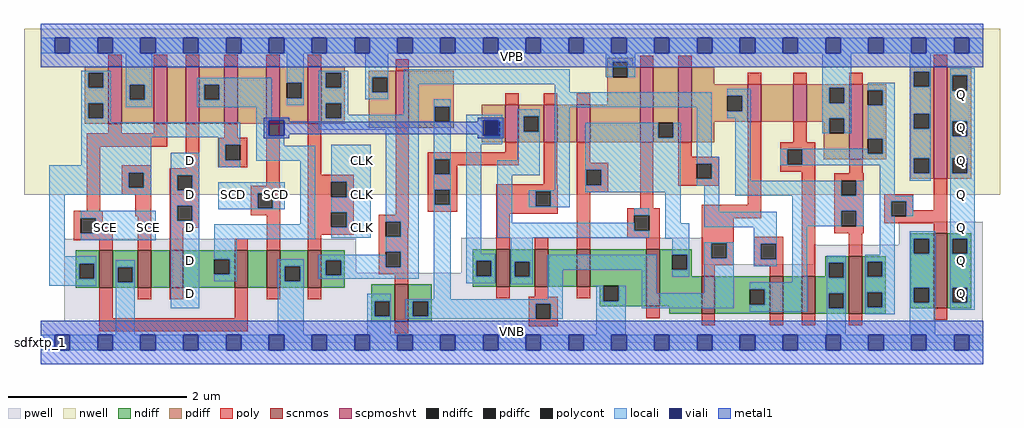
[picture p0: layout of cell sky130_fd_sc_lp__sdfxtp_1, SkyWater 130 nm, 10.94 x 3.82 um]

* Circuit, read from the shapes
.subckt sky130_fd_sc_lp__sdfxtp_1 CLK D SCD SCE VGND VNB VPB VPWR Q
XM1 VGND SCE n1 VNB sky130_fd_pr__nfet_01v8 w=0.42 l=0.15
XM2 n2 n1 VGND VNB sky130_fd_pr__nfet_01v8 w=0.42 l=0.15
XM3 n3 D n2 VNB sky130_fd_pr__nfet_01v8 w=0.42 l=0.15
XM4 n4 SCE n3 VNB sky130_fd_pr__nfet_01v8 w=0.42 l=0.15
XM5 VGND SCD n4 VNB sky130_fd_pr__nfet_01v8 w=0.42 l=0.15
XM6 n5 CLK VGND VNB sky130_fd_pr__nfet_01v8 w=0.42 l=0.15
XM7 n6 n5 VGND VNB sky130_fd_pr__nfet_01v8 w=0.42 l=0.15
XM8 n7 n5 n3 VNB sky130_fd_pr__nfet_01v8 w=0.42 l=0.15
XM9 n8 n6 n7 VNB sky130_fd_pr__nfet_01v8 w=0.42 l=0.15
XM10 VGND n9 n8 VNB sky130_fd_pr__nfet_01v8 w=0.42 l=0.15
XM11 n9 n7 VGND VNB sky130_fd_pr__nfet_01v8 w=0.64 l=0.15
XM12 n10 n6 n9 VNB sky130_fd_pr__nfet_01v8 w=0.42 l=0.15
XM13 n11 n5 n10 VNB sky130_fd_pr__nfet_01v8 w=0.42 l=0.15
XM14 VGND n12 n11 VNB sky130_fd_pr__nfet_01v8 w=0.42 l=0.15
XM15 n12 n10 VGND VNB sky130_fd_pr__nfet_01v8 w=0.64 l=0.15
XM16 Q n12 VGND VNB sky130_fd_pr__nfet_01v8 w=0.84 l=0.15
XM17 VPWR SCE n1 VPB sky130_fd_pr__pfet_01v8_hvt w=0.64 l=0.15
XM18 n13 SCE VPWR VPB sky130_fd_pr__pfet_01v8_hvt w=0.64 l=0.15
XM19 n3 D n13 VPB sky130_fd_pr__pfet_01v8_hvt w=0.64 l=0.15
XM20 n14 n1 n3 VPB sky130_fd_pr__pfet_01v8_hvt w=0.64 l=0.15
XM21 VPWR SCD n14 VPB sky130_fd_pr__pfet_01v8_hvt w=0.64 l=0.15
XM22 n5 CLK VPWR VPB sky130_fd_pr__pfet_01v8_hvt w=0.64 l=0.15
XM23 n6 n5 VPWR VPB sky130_fd_pr__pfet_01v8_hvt w=0.64 l=0.15
XM24 n7 n6 n3 VPB sky130_fd_pr__pfet_01v8_hvt w=0.42 l=0.15
XM25 n15 n5 n7 VPB sky130_fd_pr__pfet_01v8_hvt w=0.42 l=0.15
XM26 VPWR n9 n15 VPB sky130_fd_pr__pfet_01v8_hvt w=0.42 l=0.15
XM27 n9 n7 VPWR VPB sky130_fd_pr__pfet_01v8_hvt w=0.84 l=0.15
XM28 n10 n5 n9 VPB sky130_fd_pr__pfet_01v8_hvt w=0.84 l=0.15
XM29 n16 n6 n10 VPB sky130_fd_pr__pfet_01v8_hvt w=0.42 l=0.15
XM30 VPWR n12 n16 VPB sky130_fd_pr__pfet_01v8_hvt w=0.42 l=0.15
XM31 n12 n10 VPWR VPB sky130_fd_pr__pfet_01v8_hvt w=0.84 l=0.15
XM32 Q n12 VPWR VPB sky130_fd_pr__pfet_01v8_hvt w=1.26 l=0.15
.ends

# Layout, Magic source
magic
tech sky130A
magscale 1 2
<< nwell >>
rect -38 331 2150 704
<< pwell >>
rect 52 157 707 233
rect 942 175 1485 235
rect 1923 219 2111 271
rect 1732 175 2111 219
rect 942 157 2111 175
rect 52 49 2111 157
rect 0 0 2112 49
<< scnmos >>
rect 131 123 161 207
rect 217 123 247 207
rect 289 123 319 207
rect 434 123 464 207
rect 506 123 536 207
rect 598 123 628 207
rect 793 47 823 131
rect 1021 125 1051 209
rect 1107 125 1137 209
rect 1201 125 1231 209
rect 1357 81 1387 209
rect 1481 65 1511 149
rect 1634 65 1664 149
rect 1706 65 1736 149
rect 1811 65 1841 193
rect 2002 77 2032 245
<< scpmoshvt >>
rect 151 491 181 619
rect 253 491 283 619
rect 325 491 355 619
rect 411 491 441 619
rect 505 491 535 619
rect 598 491 628 619
rect 795 481 825 609
rect 1041 449 1071 533
rect 1127 449 1157 533
rect 1201 449 1231 533
rect 1343 449 1373 617
rect 1429 449 1459 617
rect 1585 495 1615 579
rect 1687 495 1717 579
rect 1812 411 1842 579
rect 2002 367 2032 619
<< ndiff >>
rect 78 177 131 207
rect 78 143 86 177
rect 120 143 131 177
rect 78 123 131 143
rect 161 169 217 207
rect 161 135 172 169
rect 206 135 217 169
rect 161 123 217 135
rect 247 123 289 207
rect 319 187 434 207
rect 319 153 389 187
rect 423 153 434 187
rect 319 123 434 153
rect 464 123 506 207
rect 536 171 598 207
rect 536 137 547 171
rect 581 137 598 171
rect 536 123 598 137
rect 628 185 681 207
rect 628 151 639 185
rect 673 151 681 185
rect 628 123 681 151
rect 968 183 1021 209
rect 968 149 976 183
rect 1010 149 1021 183
rect 740 93 793 131
rect 740 59 748 93
rect 782 59 793 93
rect 740 47 793 59
rect 823 93 876 131
rect 968 125 1021 149
rect 1051 181 1107 209
rect 1051 147 1062 181
rect 1096 147 1107 181
rect 1051 125 1107 147
rect 1137 125 1201 209
rect 1231 127 1357 209
rect 1231 125 1261 127
rect 823 59 834 93
rect 868 59 876 93
rect 823 47 876 59
rect 1253 93 1261 125
rect 1295 93 1357 127
rect 1253 81 1357 93
rect 1387 197 1459 209
rect 1387 163 1415 197
rect 1449 163 1459 197
rect 1387 149 1459 163
rect 1949 233 2002 245
rect 1949 199 1957 233
rect 1991 199 2002 233
rect 1758 179 1811 193
rect 1758 149 1766 179
rect 1387 81 1481 149
rect 1409 65 1481 81
rect 1511 119 1634 149
rect 1511 85 1589 119
rect 1623 85 1634 119
rect 1511 65 1634 85
rect 1664 65 1706 149
rect 1736 145 1766 149
rect 1800 145 1811 179
rect 1736 111 1811 145
rect 1736 77 1766 111
rect 1800 77 1811 111
rect 1736 65 1811 77
rect 1841 181 1894 193
rect 1841 147 1852 181
rect 1886 147 1894 181
rect 1841 113 1894 147
rect 1841 79 1852 113
rect 1886 79 1894 113
rect 1841 65 1894 79
rect 1949 123 2002 199
rect 1949 89 1957 123
rect 1991 89 2002 123
rect 1949 77 2002 89
rect 2032 233 2085 245
rect 2032 199 2043 233
rect 2077 199 2085 233
rect 2032 123 2085 199
rect 2032 89 2043 123
rect 2077 89 2085 123
rect 2032 77 2085 89
<< pdiff >>
rect 98 605 151 619
rect 98 571 106 605
rect 140 571 151 605
rect 98 537 151 571
rect 98 503 106 537
rect 140 503 151 537
rect 98 491 151 503
rect 181 578 253 619
rect 181 544 199 578
rect 233 544 253 578
rect 181 491 253 544
rect 283 491 325 619
rect 355 578 411 619
rect 355 544 366 578
rect 400 544 411 578
rect 355 491 411 544
rect 441 491 505 619
rect 535 582 598 619
rect 535 548 551 582
rect 585 548 598 582
rect 535 491 598 548
rect 628 605 681 619
rect 1270 629 1328 639
rect 628 571 639 605
rect 673 571 681 605
rect 628 537 681 571
rect 628 503 639 537
rect 673 503 681 537
rect 628 491 681 503
rect 735 595 795 609
rect 735 561 743 595
rect 777 561 795 595
rect 735 481 795 561
rect 825 529 925 609
rect 1270 595 1282 629
rect 1316 617 1328 629
rect 1316 595 1343 617
rect 1270 533 1343 595
rect 825 495 883 529
rect 917 495 925 529
rect 825 481 925 495
rect 988 495 1041 533
rect 988 461 996 495
rect 1030 461 1041 495
rect 988 449 1041 461
rect 1071 507 1127 533
rect 1071 473 1082 507
rect 1116 473 1127 507
rect 1071 449 1127 473
rect 1157 449 1201 533
rect 1231 449 1343 533
rect 1373 493 1429 617
rect 1373 459 1384 493
rect 1418 459 1429 493
rect 1373 449 1429 459
rect 1459 579 1509 617
rect 1949 607 2002 619
rect 1459 553 1585 579
rect 1459 519 1538 553
rect 1572 519 1585 553
rect 1459 495 1585 519
rect 1615 495 1687 579
rect 1717 571 1812 579
rect 1717 537 1767 571
rect 1801 537 1812 571
rect 1717 503 1812 537
rect 1717 495 1767 503
rect 1459 449 1509 495
rect 1755 469 1767 495
rect 1801 469 1812 503
rect 1755 411 1812 469
rect 1842 566 1895 579
rect 1842 532 1853 566
rect 1887 532 1895 566
rect 1842 457 1895 532
rect 1842 423 1853 457
rect 1887 423 1895 457
rect 1842 411 1895 423
rect 1949 573 1957 607
rect 1991 573 2002 607
rect 1949 513 2002 573
rect 1949 479 1957 513
rect 1991 479 2002 513
rect 1949 413 2002 479
rect 1949 379 1957 413
rect 1991 379 2002 413
rect 1949 367 2002 379
rect 2032 599 2085 619
rect 2032 565 2043 599
rect 2077 565 2085 599
rect 2032 496 2085 565
rect 2032 462 2043 496
rect 2077 462 2085 496
rect 2032 413 2085 462
rect 2032 379 2043 413
rect 2077 379 2085 413
rect 2032 367 2085 379
<< ndiffc >>
rect 86 143 120 177
rect 172 135 206 169
rect 389 153 423 187
rect 547 137 581 171
rect 639 151 673 185
rect 976 149 1010 183
rect 748 59 782 93
rect 1062 147 1096 181
rect 834 59 868 93
rect 1261 93 1295 127
rect 1415 163 1449 197
rect 1957 199 1991 233
rect 1589 85 1623 119
rect 1766 145 1800 179
rect 1766 77 1800 111
rect 1852 147 1886 181
rect 1852 79 1886 113
rect 1957 89 1991 123
rect 2043 199 2077 233
rect 2043 89 2077 123
<< pdiffc >>
rect 106 571 140 605
rect 106 503 140 537
rect 199 544 233 578
rect 366 544 400 578
rect 551 548 585 582
rect 639 571 673 605
rect 639 503 673 537
rect 743 561 777 595
rect 1282 595 1316 629
rect 883 495 917 529
rect 996 461 1030 495
rect 1082 473 1116 507
rect 1384 459 1418 493
rect 1538 519 1572 553
rect 1767 537 1801 571
rect 1767 469 1801 503
rect 1853 532 1887 566
rect 1853 423 1887 457
rect 1957 573 1991 607
rect 1957 479 1991 513
rect 1957 379 1991 413
rect 2043 565 2077 599
rect 2043 462 2077 496
rect 2043 379 2077 413
<< poly >>
rect 151 619 181 645
rect 253 619 283 645
rect 325 619 355 645
rect 411 619 441 645
rect 505 619 535 645
rect 598 619 628 645
rect 795 609 825 635
rect 151 469 181 491
rect 253 469 283 491
rect 103 439 283 469
rect 103 295 133 439
rect 181 381 247 397
rect 325 391 355 491
rect 411 459 441 491
rect 397 443 463 459
rect 397 409 413 443
rect 447 409 463 443
rect 397 393 463 409
rect 181 347 197 381
rect 231 347 247 381
rect 181 331 247 347
rect 73 279 139 295
rect 211 283 247 331
rect 73 245 89 279
rect 123 259 139 279
rect 123 245 161 259
rect 73 229 161 245
rect 131 207 161 229
rect 217 207 247 283
rect 289 375 355 391
rect 289 341 305 375
rect 339 341 355 375
rect 505 351 535 491
rect 598 376 628 491
rect 1343 617 1373 643
rect 1429 617 1459 643
rect 2002 619 2032 645
rect 1041 533 1071 559
rect 1127 533 1157 559
rect 1201 533 1231 559
rect 598 360 701 376
rect 289 307 355 341
rect 289 273 305 307
rect 339 273 355 307
rect 470 335 536 351
rect 470 301 486 335
rect 520 301 536 335
rect 470 285 536 301
rect 289 257 355 273
rect 289 207 319 257
rect 434 207 464 233
rect 506 207 536 285
rect 598 326 651 360
rect 685 326 701 360
rect 598 292 701 326
rect 598 258 651 292
rect 685 258 701 292
rect 795 287 825 481
rect 1585 579 1615 605
rect 1687 579 1717 605
rect 1812 579 1842 605
rect 1041 427 1071 449
rect 867 411 1071 427
rect 867 377 883 411
rect 917 397 1071 411
rect 917 377 933 397
rect 867 343 933 377
rect 1127 355 1157 449
rect 1201 403 1231 449
rect 1201 387 1272 403
rect 867 309 883 343
rect 917 309 933 343
rect 867 293 933 309
rect 1021 339 1159 355
rect 1021 305 1109 339
rect 1143 305 1159 339
rect 598 242 701 258
rect 757 271 825 287
rect 598 207 628 242
rect 757 237 773 271
rect 807 257 825 271
rect 1021 289 1159 305
rect 1201 353 1222 387
rect 1256 353 1272 387
rect 1201 337 1272 353
rect 807 237 823 257
rect 757 203 823 237
rect 1021 209 1051 289
rect 1107 209 1137 235
rect 1201 209 1231 337
rect 1343 301 1373 449
rect 1429 417 1459 449
rect 1429 401 1520 417
rect 1429 367 1470 401
rect 1504 367 1520 401
rect 1429 351 1520 367
rect 1585 309 1615 495
rect 1687 449 1717 495
rect 1657 433 1736 449
rect 1657 399 1673 433
rect 1707 399 1736 433
rect 1657 383 1736 399
rect 1314 285 1387 301
rect 1314 251 1330 285
rect 1364 251 1387 285
rect 1314 235 1387 251
rect 1357 209 1387 235
rect 1481 279 1615 309
rect 1481 223 1553 279
rect 757 169 773 203
rect 807 169 823 203
rect 757 153 823 169
rect 793 131 823 153
rect 131 55 161 123
rect 217 97 247 123
rect 289 97 319 123
rect 434 55 464 123
rect 506 97 536 123
rect 598 97 628 123
rect 131 25 464 55
rect 1021 99 1051 125
rect 1107 103 1137 125
rect 1093 87 1159 103
rect 1201 99 1231 125
rect 1093 53 1109 87
rect 1143 53 1159 87
rect 1481 189 1503 223
rect 1537 189 1553 223
rect 1481 173 1553 189
rect 1598 221 1664 237
rect 1598 187 1614 221
rect 1648 187 1664 221
rect 1481 149 1511 173
rect 1598 171 1664 187
rect 1634 149 1664 171
rect 1706 149 1736 383
rect 1812 379 1842 411
rect 1778 363 1844 379
rect 1778 329 1794 363
rect 1828 329 1844 363
rect 1778 295 1844 329
rect 1778 261 1794 295
rect 1828 261 1844 295
rect 1890 317 1956 333
rect 1890 283 1906 317
rect 1940 297 1956 317
rect 2002 297 2032 367
rect 1940 283 2032 297
rect 1890 267 2032 283
rect 1778 245 1844 261
rect 2002 245 2032 267
rect 1811 193 1841 245
rect 1357 55 1387 81
rect 793 21 823 47
rect 1093 37 1159 53
rect 1481 39 1511 65
rect 1634 39 1664 65
rect 1706 39 1736 65
rect 1811 39 1841 65
rect 2002 51 2032 77
<< polycont >>
rect 413 409 447 443
rect 197 347 231 381
rect 89 245 123 279
rect 305 341 339 375
rect 305 273 339 307
rect 486 301 520 335
rect 651 326 685 360
rect 651 258 685 292
rect 883 377 917 411
rect 883 309 917 343
rect 1109 305 1143 339
rect 773 237 807 271
rect 1222 353 1256 387
rect 1470 367 1504 401
rect 1673 399 1707 433
rect 1330 251 1364 285
rect 773 169 807 203
rect 1109 53 1143 87
rect 1503 189 1537 223
rect 1614 187 1648 221
rect 1794 329 1828 363
rect 1794 261 1828 295
rect 1906 283 1940 317
<< locali >>
rect 0 649 31 683
rect 65 649 127 683
rect 161 649 223 683
rect 257 649 319 683
rect 353 649 415 683
rect 449 649 511 683
rect 545 649 607 683
rect 641 649 703 683
rect 737 649 799 683
rect 833 649 895 683
rect 929 649 991 683
rect 1025 649 1087 683
rect 1121 649 1183 683
rect 1217 649 1279 683
rect 1313 649 1375 683
rect 1409 649 1471 683
rect 1505 649 1567 683
rect 1601 649 1663 683
rect 1697 649 1759 683
rect 1793 649 1855 683
rect 1889 649 1951 683
rect 1985 649 2047 683
rect 2081 649 2112 683
rect 90 605 156 609
rect 90 571 106 605
rect 140 571 156 605
rect 90 537 156 571
rect 90 503 106 537
rect 140 503 156 537
rect 190 578 249 649
rect 190 544 199 578
rect 233 544 249 578
rect 190 528 249 544
rect 350 578 517 594
rect 350 544 366 578
rect 400 544 517 578
rect 350 528 517 544
rect 551 582 589 649
rect 585 548 589 582
rect 551 532 589 548
rect 623 605 689 609
rect 623 571 639 605
rect 673 571 689 605
rect 623 537 689 571
rect 727 595 779 649
rect 1266 629 1332 649
rect 727 561 743 595
rect 777 561 779 595
rect 727 545 779 561
rect 813 579 1186 613
rect 1266 595 1282 629
rect 1316 595 1332 629
rect 90 494 156 503
rect 483 498 517 528
rect 623 503 639 537
rect 673 511 689 537
rect 813 511 847 579
rect 1152 561 1186 579
rect 1751 571 1817 649
rect 1948 607 1995 649
rect 673 503 847 511
rect 90 460 447 494
rect 90 397 247 460
rect 399 443 447 460
rect 19 381 247 397
rect 19 347 197 381
rect 231 347 247 381
rect 19 331 247 347
rect 291 375 355 426
rect 399 409 413 443
rect 399 393 447 409
rect 483 464 511 498
rect 623 477 847 503
rect 483 441 545 464
rect 483 407 615 441
rect 291 341 305 375
rect 339 341 355 375
rect 19 193 53 331
rect 291 307 355 341
rect 89 279 257 295
rect 123 245 257 279
rect 89 229 257 245
rect 291 273 305 307
rect 339 273 355 307
rect 397 335 547 359
rect 397 301 486 335
rect 520 301 547 335
rect 397 299 547 301
rect 19 177 124 193
rect 19 143 86 177
rect 120 143 124 177
rect 19 127 124 143
rect 168 169 210 185
rect 168 135 172 169
rect 206 135 210 169
rect 168 17 210 135
rect 291 77 355 273
rect 581 265 615 407
rect 389 231 615 265
rect 651 360 739 443
rect 685 326 739 360
rect 651 292 739 326
rect 685 258 739 292
rect 651 235 739 258
rect 773 271 847 477
rect 807 237 847 271
rect 389 187 439 231
rect 773 203 847 237
rect 423 153 439 187
rect 389 137 439 153
rect 531 171 589 187
rect 531 137 547 171
rect 581 137 589 171
rect 623 185 773 197
rect 623 151 639 185
rect 673 169 773 185
rect 807 169 847 203
rect 673 151 847 169
rect 623 143 847 151
rect 881 529 919 545
rect 881 495 883 529
rect 917 495 919 529
rect 1152 527 1504 561
rect 881 411 919 495
rect 881 377 883 411
rect 917 377 919 411
rect 881 343 919 377
rect 881 309 883 343
rect 917 309 919 343
rect 531 17 589 137
rect 732 93 784 109
rect 881 97 919 309
rect 953 498 1034 511
rect 953 464 991 498
rect 1025 495 1034 498
rect 953 461 996 464
rect 1030 461 1034 495
rect 953 445 1034 461
rect 1068 507 1118 523
rect 1068 473 1082 507
rect 1116 473 1118 507
rect 953 199 987 445
rect 1068 409 1118 473
rect 1023 375 1118 409
rect 1023 269 1057 375
rect 1152 341 1186 527
rect 1093 339 1186 341
rect 1093 305 1109 339
rect 1143 305 1186 339
rect 1220 459 1384 493
rect 1418 459 1434 493
rect 1220 387 1434 459
rect 1220 353 1222 387
rect 1256 353 1434 387
rect 1220 337 1434 353
rect 1470 417 1504 527
rect 1538 553 1591 569
rect 1572 519 1591 553
rect 1538 503 1591 519
rect 1470 401 1521 417
rect 1504 367 1521 401
rect 1470 351 1521 367
rect 1093 303 1186 305
rect 1330 285 1364 301
rect 1023 251 1330 269
rect 1023 235 1364 251
rect 1400 267 1434 337
rect 1487 293 1521 351
rect 1557 363 1591 503
rect 1751 537 1767 571
rect 1801 537 1817 571
rect 1751 503 1817 537
rect 1751 469 1767 503
rect 1801 469 1817 503
rect 1853 566 1914 582
rect 1887 532 1914 566
rect 1853 457 1914 532
rect 1657 433 1853 435
rect 1657 399 1673 433
rect 1707 423 1853 433
rect 1887 423 1914 457
rect 1707 399 1914 423
rect 1657 397 1914 399
rect 1557 329 1794 363
rect 1828 329 1844 363
rect 1684 295 1844 329
rect 953 183 1019 199
rect 953 149 976 183
rect 1010 149 1019 183
rect 953 133 1019 149
rect 1053 181 1102 235
rect 1400 233 1453 267
rect 1487 259 1650 293
rect 1415 197 1453 233
rect 1053 147 1062 181
rect 1096 147 1102 181
rect 1053 131 1102 147
rect 1136 163 1381 197
rect 1136 97 1170 163
rect 732 59 748 93
rect 782 59 784 93
rect 732 17 784 59
rect 818 93 1170 97
rect 818 59 834 93
rect 868 87 1170 93
rect 868 59 1109 87
rect 818 53 1109 59
rect 1143 53 1170 87
rect 1245 93 1261 127
rect 1295 93 1311 127
rect 1245 17 1311 93
rect 1347 111 1381 163
rect 1449 163 1453 197
rect 1415 147 1453 163
rect 1487 223 1553 225
rect 1487 189 1503 223
rect 1537 189 1553 223
rect 1487 111 1553 189
rect 1598 221 1650 259
rect 1598 187 1614 221
rect 1648 187 1650 221
rect 1598 171 1650 187
rect 1684 261 1794 295
rect 1828 261 1844 295
rect 1880 329 1914 397
rect 1948 573 1957 607
rect 1991 573 1995 607
rect 1948 513 1995 573
rect 1948 479 1957 513
rect 1991 479 1995 513
rect 1948 413 1995 479
rect 1948 379 1957 413
rect 1991 379 1995 413
rect 1948 363 1995 379
rect 2039 599 2093 615
rect 2039 565 2043 599
rect 2077 565 2093 599
rect 2039 496 2093 565
rect 2039 462 2043 496
rect 2077 462 2093 496
rect 2039 413 2093 462
rect 2039 379 2043 413
rect 2077 379 2093 413
rect 1880 317 1956 329
rect 1880 283 1906 317
rect 1940 283 1956 317
rect 1684 135 1718 261
rect 1880 197 1914 283
rect 1347 77 1553 111
rect 1589 119 1718 135
rect 1623 85 1718 119
rect 1589 69 1718 85
rect 1762 179 1804 195
rect 1762 145 1766 179
rect 1800 145 1804 179
rect 1762 111 1804 145
rect 1762 77 1766 111
rect 1800 77 1804 111
rect 1762 17 1804 77
rect 1848 181 1914 197
rect 1848 147 1852 181
rect 1886 147 1914 181
rect 1848 113 1914 147
rect 1848 79 1852 113
rect 1886 79 1914 113
rect 1848 63 1914 79
rect 1948 233 2005 249
rect 1948 199 1957 233
rect 1991 199 2005 233
rect 1948 123 2005 199
rect 1948 89 1957 123
rect 1991 89 2005 123
rect 1948 17 2005 89
rect 2039 233 2093 379
rect 2039 199 2043 233
rect 2077 199 2093 233
rect 2039 123 2093 199
rect 2039 89 2043 123
rect 2077 89 2093 123
rect 2039 73 2093 89
rect 0 -17 31 17
rect 65 -17 127 17
rect 161 -17 223 17
rect 257 -17 319 17
rect 353 -17 415 17
rect 449 -17 511 17
rect 545 -17 607 17
rect 641 -17 703 17
rect 737 -17 799 17
rect 833 -17 895 17
rect 929 -17 991 17
rect 1025 -17 1087 17
rect 1121 -17 1183 17
rect 1217 -17 1279 17
rect 1313 -17 1375 17
rect 1409 -17 1471 17
rect 1505 -17 1567 17
rect 1601 -17 1663 17
rect 1697 -17 1759 17
rect 1793 -17 1855 17
rect 1889 -17 1951 17
rect 1985 -17 2047 17
rect 2081 -17 2112 17
<< viali >>
rect 31 649 65 683
rect 127 649 161 683
rect 223 649 257 683
rect 319 649 353 683
rect 415 649 449 683
rect 511 649 545 683
rect 607 649 641 683
rect 703 649 737 683
rect 799 649 833 683
rect 895 649 929 683
rect 991 649 1025 683
rect 1087 649 1121 683
rect 1183 649 1217 683
rect 1279 649 1313 683
rect 1375 649 1409 683
rect 1471 649 1505 683
rect 1567 649 1601 683
rect 1663 649 1697 683
rect 1759 649 1793 683
rect 1855 649 1889 683
rect 1951 649 1985 683
rect 2047 649 2081 683
rect 511 464 545 498
rect 991 495 1025 498
rect 991 464 996 495
rect 996 464 1025 495
rect 31 -17 65 17
rect 127 -17 161 17
rect 223 -17 257 17
rect 319 -17 353 17
rect 415 -17 449 17
rect 511 -17 545 17
rect 607 -17 641 17
rect 703 -17 737 17
rect 799 -17 833 17
rect 895 -17 929 17
rect 991 -17 1025 17
rect 1087 -17 1121 17
rect 1183 -17 1217 17
rect 1279 -17 1313 17
rect 1375 -17 1409 17
rect 1471 -17 1505 17
rect 1567 -17 1601 17
rect 1663 -17 1697 17
rect 1759 -17 1793 17
rect 1855 -17 1889 17
rect 1951 -17 1985 17
rect 2047 -17 2081 17
<< metal1 >>
rect 0 683 2112 715
rect 0 649 31 683
rect 65 649 127 683
rect 161 649 223 683
rect 257 649 319 683
rect 353 649 415 683
rect 449 649 511 683
rect 545 649 607 683
rect 641 649 703 683
rect 737 649 799 683
rect 833 649 895 683
rect 929 649 991 683
rect 1025 649 1087 683
rect 1121 649 1183 683
rect 1217 649 1279 683
rect 1313 649 1375 683
rect 1409 649 1471 683
rect 1505 649 1567 683
rect 1601 649 1663 683
rect 1697 649 1759 683
rect 1793 649 1855 683
rect 1889 649 1951 683
rect 1985 649 2047 683
rect 2081 649 2112 683
rect 0 617 2112 649
rect 499 498 557 504
rect 499 464 511 498
rect 545 495 557 498
rect 979 498 1037 504
rect 979 495 991 498
rect 545 467 991 495
rect 545 464 557 467
rect 499 458 557 464
rect 979 464 991 467
rect 1025 464 1037 498
rect 979 458 1037 464
rect 0 17 2112 49
rect 0 -17 31 17
rect 65 -17 127 17
rect 161 -17 223 17
rect 257 -17 319 17
rect 353 -17 415 17
rect 449 -17 511 17
rect 545 -17 607 17
rect 641 -17 703 17
rect 737 -17 799 17
rect 833 -17 895 17
rect 929 -17 991 17
rect 1025 -17 1087 17
rect 1121 -17 1183 17
rect 1217 -17 1279 17
rect 1313 -17 1375 17
rect 1409 -17 1471 17
rect 1505 -17 1567 17
rect 1601 -17 1663 17
rect 1697 -17 1759 17
rect 1793 -17 1855 17
rect 1889 -17 1951 17
rect 1985 -17 2047 17
rect 2081 -17 2112 17
rect 0 -49 2112 -17
<< labels >>
flabel pwell s 0 0 2112 49 0 FreeSans 200 0 0 0 VNB
port 6 nsew ground bidirectional
flabel nwell s 0 617 2112 666 0 FreeSans 200 0 0 0 VPB
port 7 nsew power bidirectional
rlabel comment s 0 0 0 0 4 sdfxtp_1
flabel metal1 s 0 617 2112 666 0 FreeSans 340 0 0 0 VPWR
port 8 nsew power bidirectional
flabel metal1 s 0 0 2112 49 0 FreeSans 340 0 0 0 VGND
port 5 nsew ground bidirectional
flabel locali s 703 242 737 276 0 FreeSans 340 0 0 0 CLK
port 1 nsew clock input
flabel locali s 703 316 737 350 0 FreeSans 340 0 0 0 CLK
port 1 nsew clock input
flabel locali s 703 390 737 424 0 FreeSans 340 0 0 0 CLK
port 1 nsew clock input
flabel locali s 127 242 161 276 0 FreeSans 340 0 0 0 SCE
port 4 nsew signal input
flabel locali s 223 242 257 276 0 FreeSans 340 0 0 0 SCE
port 4 nsew signal input
flabel locali s 415 316 449 350 0 FreeSans 340 0 0 0 SCD
port 3 nsew signal input
flabel locali s 511 316 545 350 0 FreeSans 340 0 0 0 SCD
port 3 nsew signal input
flabel locali s 319 94 353 128 0 FreeSans 340 0 0 0 D
port 2 nsew signal input
flabel locali s 319 168 353 202 0 FreeSans 340 0 0 0 D
port 2 nsew signal input
flabel locali s 319 242 353 276 0 FreeSans 340 0 0 0 D
port 2 nsew signal input
flabel locali s 319 316 353 350 0 FreeSans 340 0 0 0 D
port 2 nsew signal input
flabel locali s 319 390 353 424 0 FreeSans 340 0 0 0 D
port 2 nsew signal input
flabel locali s 2047 94 2081 128 0 FreeSans 340 0 0 0 Q
port 9 nsew signal output
flabel locali s 2047 168 2081 202 0 FreeSans 340 0 0 0 Q
port 9 nsew signal output
flabel locali s 2047 242 2081 276 0 FreeSans 340 0 0 0 Q
port 9 nsew signal output
flabel locali s 2047 316 2081 350 0 FreeSans 340 0 0 0 Q
port 9 nsew signal output
flabel locali s 2047 390 2081 424 0 FreeSans 340 0 0 0 Q
port 9 nsew signal output
flabel locali s 2047 464 2081 498 0 FreeSans 340 0 0 0 Q
port 9 nsew signal output
flabel locali s 2047 538 2081 572 0 FreeSans 340 0 0 0 Q
port 9 nsew signal output
<< properties >>
string LEFsite unit
string LEFclass CORE
string FIXED_BBOX 0 0 2112 666
string GDS_FILE $PDKPATH/libs.ref/sky130_fd_sc_lp/gds/sky130_fd_sc_lp.gds
string LEFsymmetry X Y R90
string GDS_END 4036394
string GDS_START 4019508
<< end >>
